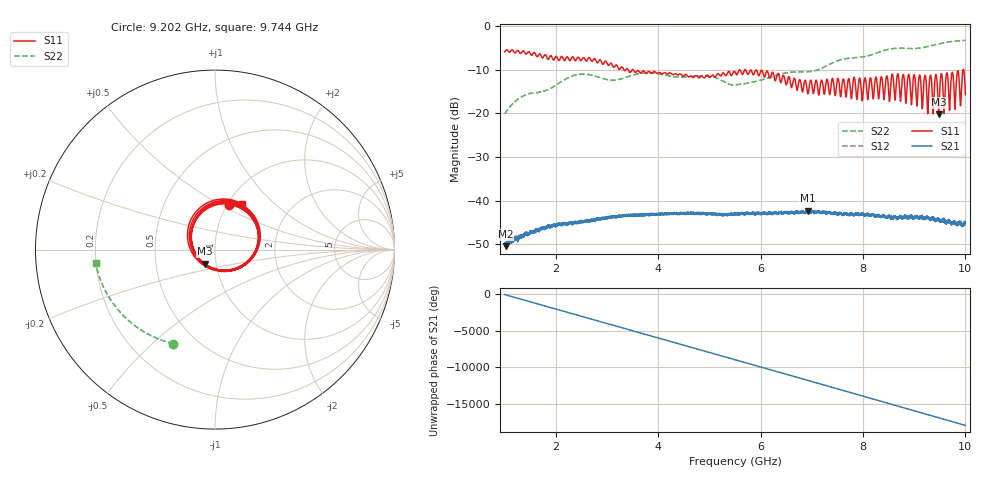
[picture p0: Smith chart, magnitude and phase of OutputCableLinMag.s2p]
!Keysight Technologies,N5232B,MY63057082,A.15.71.11
!Date: Thursday, April 03, 2025 04:25:38
!Correction: S11(C  2-Port  )
!S21(C  2-Port  )
!S12(C  2-Port  )
!S22(C  2-Port  )
!S2P File: Measurements: S11, S21, S12, S22:
# Hz S  MA  R 50
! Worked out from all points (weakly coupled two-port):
!   9001 points, 1 GHz to 10 GHz, reference 50 ohm
!   highest |S21| = -42.31 dB at 6.92 GHz (marker M1); lowest = -50.5 dB at 1.022 GHz (marker M2)
!   lowest |S11| = -20.2 dB at 9.477 GHz (marker M3), VSWR 1.22, Z = 44 - j6.99 ohm
!   |S11| at or under -10 dB: 3.514 GHz to 5.59 GHz (2.076 GHz wide, 45.6 % of centre); 5.59 GHz to 5.69 GHz (99.67 MHz wide, 1.77 % of centre); 5.707 GHz to 9.954 GHz (4.247 GHz wide, 54.2 % of centre) (the widest 3 of 6)
!   |S22| runs from -20.1 to -3.3 dB; largest |S21 - S12| = 0.0006
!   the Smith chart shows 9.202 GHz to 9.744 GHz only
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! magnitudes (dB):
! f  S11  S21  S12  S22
! 1 GHz  -5.9  -50.0  -50.3  -20.1
! 1.022 GHz  -5.6  -50.5  -49.5  -19.8
! 1.343 GHz  -5.8  -48.4  -48.3  -16.1
! 2.5 GHz  -7.8  -44.9  -44.8  -11.0
! 3.126 GHz  -9.4  -43.9  -43.9  -12.4
! 4 GHz  -10.7  -43.3  -43.2  -10.9
! 5.5 GHz  -10.5  -43.1  -42.9  -13.5
! 6.129 GHz  -10.3  -43.0  -43.2  -11.9
! 6.92 GHz  -15.5  -42.3  -42.5  -10.4
! 7 GHz  -13.3  -42.5  -42.8  -10.4
! 8.5 GHz  -14.7  -43.7  -43.9  -5.3
! 8.892 GHz  -11.0  -43.9  -44.2  -5.1
! 9.211 GHz  -11.3  -44.1  -44.2  -4.8
! 9.264 GHz  -20.1  -43.9  -43.9  -4.7
! 9.424 GHz  -11.1  -44.6  -44.5  -4.2
! 9.477 GHz  -20.2  -44.2  -44.2  -4.0
! 9.637 GHz  -10.7  -45.0  -45.0  -3.7
! 9.8 GHz  -18.8  -45.0  -45.2  -3.4
! 9.851 GHz  -10.2  -45.6  -44.9  -3.4
! 9.908 GHz  -18.0  -45.4  -45.0  -3.3
! 9.962 GHz  -9.9  -45.6  -45.6  -3.3
! 10 GHz  -15.7  -45.2  -45.3  -3.3
